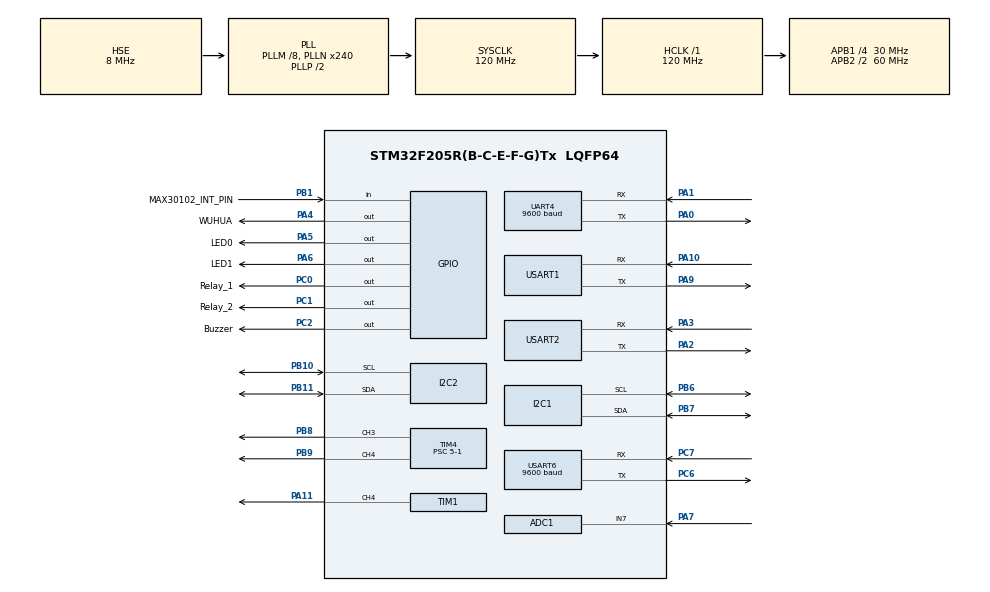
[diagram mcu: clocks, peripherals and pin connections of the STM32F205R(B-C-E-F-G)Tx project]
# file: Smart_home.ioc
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ADC1.Channel-0\#ChannelRegularConversion=ADC_CHANNEL_7
ADC1.ContinuousConvMode=ENABLE
ADC1.NbrOfConversionFlag=1
ADC1.Rank-0\#ChannelRegularConversion=1
ADC1.SamplingTime-0\#ChannelRegularConversion=ADC_SAMPLETIME_144CYCLES
ADC1.ScanConvMode=ENABLE
ADC1.master=1
Dma.ADC1.0.Direction=DMA_PERIPH_TO_MEMORY
Dma.ADC1.0.FIFOMode=DMA_FIFOMODE_DISABLE
Dma.ADC1.0.Instance=DMA2_Stream0
Dma.ADC1.0.MemDataAlignment=DMA_MDATAALIGN_HALFWORD
Dma.ADC1.0.MemInc=DMA_MINC_ENABLE
Dma.ADC1.0.Mode=DMA_NORMAL
Dma.ADC1.0.PeriphDataAlignment=DMA_PDATAALIGN_HALFWORD
Dma.ADC1.0.PeriphInc=DMA_PINC_DISABLE
Dma.ADC1.0.Priority=DMA_PRIORITY_LOW
Dma.Request0=ADC1
FREERTOS.Tasks01=defaultTask,24,128,StartDefaultTask,Default,NULL,Dynamic,NULL,NULL
FREERTOS.configCHECK_FOR_STACK_OVERFLOW=1
IWDG.Prescaler=IWDG_PRESCALER_128
IWDG.Reload=2499
Mcu.Family=STM32F2
Mcu.Name=STM32F205R(B-C-E-F-G)Tx
Mcu.Package=LQFP64
NVIC.DMA2_Stream0_IRQn=true\:5\:0\:false\:false\:true\:true\:false\:true\:true
NVIC.PriorityGroup=NVIC_PRIORITYGROUP_4
NVIC.TIM5_IRQn=true\:15\:0\:false\:false\:true\:false\:false\:true\:true
NVIC.TimeBase=TIM5_IRQn
NVIC.TimeBaseIP=TIM5
NVIC.UART4_IRQn=true\:10\:0\:true\:false\:true\:true\:true\:true\:true
NVIC.USART2_IRQn=true\:5\:0\:true\:false\:true\:true\:true\:true\:true
NVIC.USART6_IRQn=true\:9\:0\:true\:false\:true\:true\:true\:true\:true
PA0-WKUP.Mode=Asynchronous
PA0-WKUP.Signal=UART4_TX
PA1.Mode=Asynchronous
PA1.Signal=UART4_RX
PA10.Mode=Asynchronous
PA10.Signal=USART1_RX
PA11.Signal=S_TIM1_CH4
PA13.Mode=Serial_Wire
PA13.Signal=SYS_JTMS-SWDIO
PA14.Mode=Serial_Wire
PA14.Signal=SYS_JTCK-SWCLK
PA2.Mode=Asynchronous
PA2.Signal=USART2_TX
PA3.Mode=Asynchronous
PA3.Signal=USART2_RX
PA4.GPIO_Label=WUHUA
PA4.GPIO_Speed=GPIO_SPEED_FREQ_LOW
PA4.Signal=GPIO_Output
PA5.GPIO_Label=LED0
PA5.GPIO_Speed=GPIO_SPEED_FREQ_LOW
PA5.PinState=GPIO_PIN_SET
PA5.Signal=GPIO_Output
PA6.GPIO_Label=LED1
PA6.PinState=GPIO_PIN_SET
PA6.Signal=GPIO_Output
PA7.Signal=ADCx_IN7
PA9.Mode=Asynchronous
PA9.Signal=USART1_TX
PB1.GPIO_Label=MAX30102_INT_PIN
PB1.GPIO_PuPd=GPIO_PULLUP
PB1.Signal=GPIO_Input
PB10.Mode=I2C
PB10.Signal=I2C2_SCL
PB11.Mode=I2C
PB11.Signal=I2C2_SDA
PB6.Mode=I2C
PB6.Signal=I2C1_SCL
PB7.Mode=I2C
PB7.Signal=I2C1_SDA
PB8.Signal=S_TIM4_CH3
PB9.Signal=S_TIM4_CH4
PC0.GPIO_Label=Relay_1
PC0.Signal=GPIO_Output
PC1.GPIO_Label=Relay_2
PC1.Signal=GPIO_Output
PC2.GPIO_Label=Buzzer
PC2.Signal=GPIO_Output
PC6.Mode=Asynchronous
PC6.Signal=USART6_TX
PC7.Mode=Asynchronous
PC7.Signal=USART6_RX
PH0-OSC_IN.Mode=HSE-External-Oscillator
PH0-OSC_IN.Signal=RCC_OSC_IN
PH1-OSC_OUT.Mode=HSE-External-Oscillator
PH1-OSC_OUT.Signal=RCC_OSC_OUT
ProjectManager.HeapSize=0x200
ProjectManager.StackSize=0x400
ProjectManager.TargetToolchain=MDK-ARM V5.32
RCC.48MHZClocksFreq_Value=60000000
RCC.AHBFreq_Value=120000000
RCC.APB1CLKDivider=RCC_HCLK_DIV4
RCC.APB1Freq_Value=30000000
RCC.APB1TimFreq_Value=60000000
RCC.APB2CLKDivider=RCC_HCLK_DIV2
RCC.APB2Freq_Value=60000000
RCC.APB2TimFreq_Value=120000000
RCC.CortexFreq_Value=120000000
RCC.HCLKFreq_Value=120000000
RCC.HSE_VALUE=8000000
RCC.HSI_VALUE=16000000
RCC.LSE_VALUE=32768
RCC.PLLM=8
RCC.PLLN=240
RCC.PLLSourceVirtual=RCC_PLLSOURCE_HSE
RCC.SYSCLKFreq_VALUE=120000000
RCC.SYSCLKSource=RCC_SYSCLKSOURCE_PLLCLK
RCC.VCOOutputFreq_Value=240000000
SH.ADCx_IN7.0=ADC1_IN7,IN7
SH.S_TIM1_CH4.0=TIM1_CH4,PWM Generation4 CH4
SH.S_TIM4_CH3.0=TIM4_CH3,PWM Generation3 CH3
SH.S_TIM4_CH4.0=TIM4_CH4,PWM Generation4 CH4
TIM1.Channel-PWM\ Generation4\ CH4=TIM_CHANNEL_4
TIM1.ClockDivision=TIM_CLOCKDIVISION_DIV2
TIM1.Period=20000-1
TIM1.Prescaler=120-1
TIM1.Pulse-PWM\ Generation4\ CH4=1500
TIM4.Channel-PWM\ Generation3\ CH3=TIM_CHANNEL_3
TIM4.Channel-PWM\ Generation4\ CH4=TIM_CHANNEL_4
TIM4.ClockDivision=TIM_CLOCKDIVISION_DIV2
TIM4.Period=100-1
TIM4.Prescaler=5-1
UART4.BaudRate=9600
UART4.Mode=MODE_RX
UART4.VirtualMode=Asynchronous
USART1.VirtualMode=VM_ASYNC
USART2.VirtualMode=VM_ASYNC
USART6.BaudRate=9600
USART6.Mode=MODE_RX
USART6.VirtualMode=VM_ASYNC
VP_FREERTOS_VS_CMSIS_V2.Mode=CMSIS_V2
VP_IWDG_VS_IWDG.Mode=IWDG_Activate
VP_SYS_VS_tim5.Mode=TIM5
VP_TIM1_VS_ClockSourceINT.Mode=Internal
VP_TIM4_VS_ClockSourceINT.Mode=Internal
board=custom

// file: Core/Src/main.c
/* USER CODE BEGIN Header */
/**
  ******************************************************************************
  * @file           : main.c
  * @brief          : Main program body
  ******************************************************************************
  * @attention
  *
  * Copyright (c) 2025 STMicroelectronics.
  * All rights reserved.
  *
  * This software is licensed under terms that can be found in the LICENSE file
  * in the root directory of this software component.
  * If no LICENSE file comes with this software, it is provided AS-IS.
  *
  ******************************************************************************
  */
/* USER CODE END Header */
#include "main.h"
#include "cmsis_os.h"
#include "adc.h"
#include "dma.h"
#include "i2c.h"
#include "iwdg.h"
#include "tim.h"
#include "usart.h"
#include "gpio.h"

/* USER CODE BEGIN Includes */
#include "app_mqttSend_task.h"
#include "bsp_drv8833_driver.h"
#include "bsp_max30102_driver.h"
#include "bsp_oled_driver.h"
#include "bsp_usart_driver.h"
#include "bsp_sg90_driver.h"
/* USER CODE END Includes */

void SystemClock_Config(void);
void MX_FREERTOS_Init(void);

int main(void)
{

  /* MCU Configuration--------------------------------------------------------*/

  /* Reset of all peripherals, Initializes the Flash interface and the Systick. */
  HAL_Init();

  /* Configure the system clock */
  SystemClock_Config();

  /* Initialize all configured peripherals */
  MX_GPIO_Init();
  MX_DMA_Init();
  MX_ADC1_Init();
  MX_I2C1_Init();
  MX_I2C2_Init();
  MX_UART4_Init();
  MX_USART1_UART_Init();
  MX_USART2_UART_Init();
  MX_USART6_UART_Init();
  MX_TIM1_Init();
  MX_TIM4_Init();
  MX_IWDG_Init();
  /* USER CODE BEGIN 2 */
	/*sg90*/
	sg90_init();
	/*oled*/
	OLED_Init();
  /*drv8833*/
  drv8833_motor_speed(50);
	/*连接wifi*/
	wifi_mqtt_init();
	OLED_Clear();
	OLED_DrawBMP(0,2,64,7,BMP2,0);
	OLED_ShowCHinese(0,0,11,1);
	OLED_ShowCHinese(16,0,12,1);
	OLED_ShowCHinese(32,0,13,1);
	OLED_ShowCHinese(48,0,14,1);
	OLED_ShowCHinese(64,0,15,1);
	OLED_ShowCHinese(80,0,16,1);
	OLED_ShowCHinese(96,0,19,1);
	OLED_ShowCHinese(112,0,20,1);
	//OLED_Some_HorizontalShift(0x27,2,7);
	HAL_Delay(10);
	// aht20
	OLED_ShowString(64,2,"T:",12,0);
	OLED_ShowString(98,2,"H:",12,0);
	// gy906
	OLED_ShowString(64,3,"P_T:",12,0);
	// TVOC
	OLED_ShowString(64,4,"TVOC:",12,0);
	// HCHO
	OLED_ShowString(64,5,"HCHO:",12,0);
	// CO2
	OLED_ShowString(64,6,"CO2:",12,0);
	//PM2.5
	OLED_ShowString(64,7,"PM2.5:",12,0);

  /* USER CODE END 2 */

  /* Init scheduler */
  osKernelInitialize();

  /* Call init function for freertos objects (in freertos.c) */
  MX_FREERTOS_Init();

  /* Start scheduler */
  osKernelStart();

  /* We should never get here as control is now taken by the scheduler */
  /* Infinite loop */
  while (1)
  {

  }
}

void SystemClock_Config(void)
{
  RCC_OscInitTypeDef RCC_OscInitStruct = {0};
  RCC_ClkInitTypeDef RCC_ClkInitStruct = {0};

  /** Initializes the RCC Oscillators according to the specified parameters
  * in the RCC_OscInitTypeDef structure.
  */
  RCC_OscInitStruct.OscillatorType = RCC_OSCILLATORTYPE_LSI|RCC_OSCILLATORTYPE_HSE;
  RCC_OscInitStruct.HSEState = RCC_HSE_ON;
  RCC_OscInitStruct.LSIState = RCC_LSI_ON;
  RCC_OscInitStruct.PLL.PLLState = RCC_PLL_ON;
  RCC_OscInitStruct.PLL.PLLSource = RCC_PLLSOURCE_HSE;
  RCC_OscInitStruct.PLL.PLLM = 8;
  RCC_OscInitStruct.PLL.PLLN = 240;
  RCC_OscInitStruct.PLL.PLLP = RCC_PLLP_DIV2;
  RCC_OscInitStruct.PLL.PLLQ = 4;
  if (HAL_RCC_OscConfig(&RCC_OscInitStruct) != HAL_OK)
  {
    Error_Handler();
  }

  /** Initializes the CPU, AHB and APB buses clocks
  */
  RCC_ClkInitStruct.ClockType = RCC_CLOCKTYPE_HCLK|RCC_CLOCKTYPE_SYSCLK
                              |RCC_CLOCKTYPE_PCLK1|RCC_CLOCKTYPE_PCLK2;
  RCC_ClkInitStruct.SYSCLKSource = RCC_SYSCLKSOURCE_PLLCLK;
  RCC_ClkInitStruct.AHBCLKDivider = RCC_SYSCLK_DIV1;
  RCC_ClkInitStruct.APB1CLKDivider = RCC_HCLK_DIV4;
  RCC_ClkInitStruct.APB2CLKDivider = RCC_HCLK_DIV2;

  if (HAL_RCC_ClockConfig(&RCC_ClkInitStruct, FLASH_LATENCY_3) != HAL_OK)
  {
    Error_Handler();
  }
}

void HAL_TIM_PeriodElapsedCallback(TIM_HandleTypeDef *htim)
{
  if (htim->Instance == TIM5) {
    HAL_IncTick();
  }
}

void Error_Handler(void)
{
  __disable_irq();
  while (1)
  {
  }
}

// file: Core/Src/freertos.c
/* USER CODE BEGIN Header */
/**
 ******************************************************************************
 * File Name          : freertos.c
 * Description        : Code for freertos applications
 ******************************************************************************
 * @attention
 *
 * Copyright (c) 2025 STMicroelectronics.
 * All rights reserved.
 *
 * This software is licensed under terms that can be found in the LICENSE file
 * in the root directory of this software component.
 * If no LICENSE file comes with this software, it is provided AS-IS.
 *
 ******************************************************************************
 */
/* USER CODE END Header */

#include "FreeRTOS.h"
#include "task.h"
#include "main.h"
#include "cmsis_os.h"

/* USER CODE BEGIN Includes */
#include "semphr.h"
#include "queue.h"
#include "list.h"
/****************Task_Include***********************/
#include "app_mqttSend_task.h"
#include "app_aht20_task.h"
#include "app_air_task.h"
#include "app_lm2904_task.h"
#include "app_gy906_task.h"
#include "app_mqttRev_task.h"
#include "app_max30102_task.h"
/****************BSP_Include***********************/
#include "bsp_usart_driver.h"
#include "bsp_aht20_driver.h"
#include "bsp_lm2904_driver.h"
#include "bsp_airquality_driver.h"
#include "bsp_oled_driver.h"
#include "bsp_led_driver.h"
#include "bsp_pm2.5_driver.h"
#include "bsp_sg90_driver.h"
#include "bsp_led_driver.h"
#include "bsp_relay_driver.h"
#include "bsp_buzzer_driver.h"
#include "bsp_wuhua_driver.h"
#include "bsp_esp8266_driver.h"
#include "bsp_drv8833_driver.h"
#include "bsp_max30102_driver.h"
/* USER CODE END Includes */

/* USER CODE BEGIN PD */
/****************Task_Init**************************/
/*start_task*/
#define START_TASK_DEPTH 256
#define START_TASK_PRIORITY 1
TaskHandle_t start_task_handle = NULL;

/*mqtt_send_task*/
#define MQTT_SEND_TASK_DEPTH 1024
#define MQTT_SEND_TASK_PRIORITY 27
TaskHandle_t mqtt_send_handle = NULL;

/*aht20_task*/
#define AHT20_TASK_DEPTH 256
#define AHT20_TASK_PRIORITY 24
TaskHandle_t aht20_task_handle = NULL;

/*air_task*/
#define AIR_TASK_DEPTH 256
#define AIR_TASK_PRIORITY 24
TaskHandle_t air_task_handle = NULL;

/*lm2904  task*/
#define LM2904_TASK_DEPTH 256
#define LM2904_TASK_PRIORITY 24
TaskHandle_t lm2904_task_handle = NULL;

/*gy906 task*/
#define GY906_TASK_DEPTH 256
#define GY906_TASK_PRIORITY 24
TaskHandle_t gy906_task_handle = NULL;

/*MQTT REV task*/
#define MQTT_REV_TASK_DEPTH 512
#define MQTT_REV_TASK_PRIORITY 24
TaskHandle_t mqtt_rev_task_handle = NULL;

/*max30102 task*/
#define MAX30102_TASK_DEPTH 512
#define MAX30102_TASK_PRIORITY 26
TaskHandle_t max30102_task_handle = NULL;

/* USER CODE END PD */

/* USER CODE BEGIN PM */
SemaphoreHandle_t xAirQualitySemaphore;
SemaphoreHandle_t xPM25Semaphore;

QueueHandle_t xSensorDataQueue = NULL;
/* USER CODE END PM */

/* Definitions for defaultTask */
osThreadId_t defaultTaskHandle;
const osThreadAttr_t defaultTask_attributes = {
  .name = "defaultTask",
  .stack_size = 128 * 4,
  .priority = (osPriority_t) osPriorityNormal,
};

void StartDefaultTask(void *argument);

void MX_FREERTOS_Init(void); /* (MISRA C 2004 rule 8.1) */

/* Hook prototypes */
void vApplicationStackOverflowHook(xTaskHandle xTask, signed char *pcTaskName);

/* USER CODE BEGIN 4 */
void vApplicationStackOverflowHook(xTaskHandle xTask, signed char *pcTaskName)
{
  /* Run time stack overflow checking is performed if
  configCHECK_FOR_STACK_OVERFLOW is defined to 1 or 2. This hook function is
  called if a stack overflow is detected. */
	  printf("Stack overflow in task: %s\n", pcTaskName);
		while (1);
}
/* USER CODE END 4 */

void MX_FREERTOS_Init(void) {

  /* Create the thread(s) */
  /* creation of defaultTask */
  defaultTaskHandle = osThreadNew(StartDefaultTask, NULL, &defaultTask_attributes);

}

void StartDefaultTask(void *argument)
{
  /* USER CODE BEGIN StartDefaultTask */

  /* Infinite loop */
	/*创建数据发送的消息队列 */
  xSensorDataQueue = xQueueCreate(20, sizeof(SensorData_t));
  /*创建信号量*/
  xAirQualitySemaphore = xSemaphoreCreateBinary();
  xPM25Semaphore = xSemaphoreCreateBinary();
  /*创建任务*/
  /*1. mqttsend*/
  xTaskCreate(
      (TaskFunction_t)mqtt_send_task,
      (char *)"mqtt_send_connect",
      (configSTACK_DEPTH_TYPE)MQTT_SEND_TASK_DEPTH,
      (void *)NULL,
      (UBaseType_t)MQTT_SEND_TASK_PRIORITY,
      (TaskHandle_t *)&mqtt_send_handle);

  /*2. aht20 task*/
  xTaskCreate(
      (TaskFunction_t)aht20_task,
      (char *)"aht20_task",
      (configSTACK_DEPTH_TYPE)AHT20_TASK_DEPTH,
      (void *)NULL,
      (UBaseType_t)AHT20_TASK_PRIORITY,
      (TaskHandle_t *)&aht20_task_handle);

  /*3. air task*/
  xTaskCreate(
      (TaskFunction_t)air_task,
      (char *)"air_task",
      (configSTACK_DEPTH_TYPE)AIR_TASK_DEPTH,
      (void *)NULL,
      (UBaseType_t)AIR_TASK_PRIORITY,
      (TaskHandle_t *)&air_task_handle);

  /*4. lm2904 task*/
  xTaskCreate(
      (TaskFunction_t)lm2904_task,
      (char *)"lm2904_task",
      (configSTACK_DEPTH_TYPE)LM2904_TASK_DEPTH,
      (void *)NULL,
      (UBaseType_t)LM2904_TASK_PRIORITY,
      (TaskHandle_t *)lm2904_task_handle);

  /*5. gy906 task*/
  xTaskCreate(
      (TaskFunction_t)gy906_task,
      (char *)"gy906_task",
      (configSTACK_DEPTH_TYPE)GY906_TASK_DEPTH,
      (void *)NULL,
      (UBaseType_t)GY906_TASK_PRIORITY,
      (TaskHandle_t *)gy906_task_handle);

  /*6. revData task*/
  xTaskCreate(
      (TaskFunction_t)mqtt_rev_task,
      (char *)"revData_task",
      (configSTACK_DEPTH_TYPE)MQTT_REV_TASK_DEPTH,
      (void *)NULL,
      (UBaseType_t)MQTT_REV_TASK_PRIORITY,
      (TaskHandle_t *)mqtt_rev_task_handle);

  /*7. max30102 task*/
  xTaskCreate(
      (TaskFunction_t)max30102_task,
      (char *)"max30102_task",
      (configSTACK_DEPTH_TYPE)MAX30102_TASK_DEPTH,
      (void *)NULL,
      (UBaseType_t)MAX30102_TASK_PRIORITY,
      (TaskHandle_t *)max30102_task_handle);

  vTaskDelay(pdMS_TO_TICKS(100));

  vTaskDelete(NULL);
}
  /* USER CODE END StartDefaultTask */
